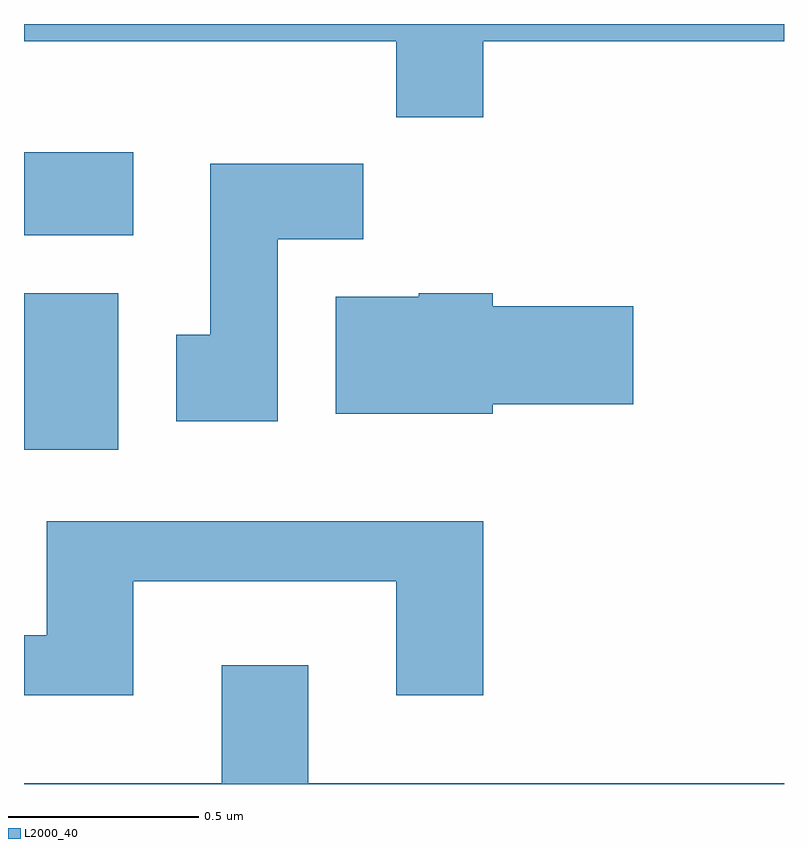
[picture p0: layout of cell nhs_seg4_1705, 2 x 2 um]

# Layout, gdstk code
import gdstk
lib = gdstk.Library(unit=1e-6, precision=1e-09)
def R(c, l, rs):  # rectangles x0, y0, x1, y1
    for r in rs: c.add(gdstk.rectangle(r[:2], r[2:], *l))
def P(c, l, *ps):  # polygons
    for p in ps: c.add(gdstk.Polygon(p, *l))
L2000_40 = (2000, 40)

nhs_seg4_1705 = lib.new_cell('nhs_seg4_1705')
R(nhs_seg4_1705, L2000_40, [(197.611,1315.861,197.859,1316.274), (197.611,1316.426,197.899,1316.644)])
P(nhs_seg4_1705, L2000_40, [(198.819,1316.936),(199.611,1316.936),(199.611,1316.982),(197.611,1316.982),(197.611,1316.936),(198.591,1316.936),(198.591,1316.736),(198.819,1316.736)],
  [(198.279,1316.416),(198.504,1316.416),(198.504,1316.614),(198.101,1316.614),(198.101,1316.164),(198.011,1316.164),(198.011,1315.936),(198.279,1315.936)],
  [(198.844,1315.981),(199.214,1315.981),(199.214,1316.239),(198.844,1316.239),(198.844,1316.274),(198.65,1316.274),(198.65,1316.264),(198.431,1316.264),(198.431,1315.956),(198.844,1315.956)],
  [(197.899,1315.516),(198.591,1315.516),(198.591,1315.216),(198.819,1315.216),(198.819,1315.674),(197.671,1315.674),(197.671,1315.374),(197.611,1315.374),(197.611,1315.216),(197.899,1315.216)],
  [(199.611,1314.984),(198.359,1314.984),(198.359,1315.294),(198.131,1315.294),(198.131,1314.984),(197.611,1314.984),(197.611,1314.982),(199.611,1314.982)])

lib.write_gds('nhs_seg4_1705.gds')
